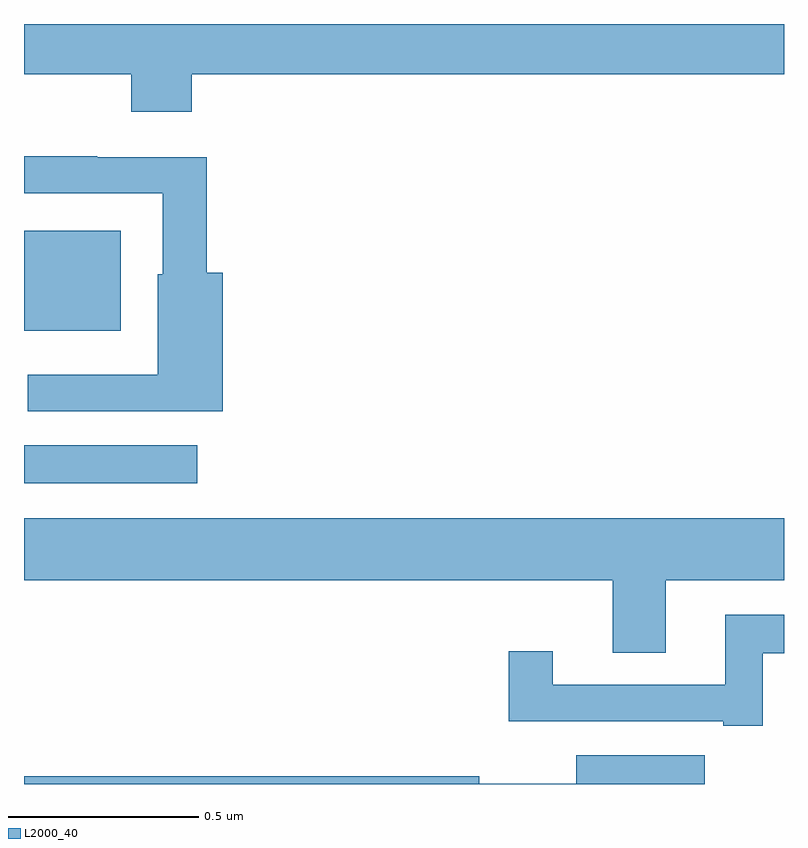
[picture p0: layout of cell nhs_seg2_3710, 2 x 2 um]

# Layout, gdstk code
import gdstk
lib = gdstk.Library(unit=1e-6, precision=1e-09)
def R(c, l, rs):  # rectangles x0, y0, x1, y1
    for r in rs: c.add(gdstk.rectangle(r[:2], r[2:], *l))
def P(c, l, *ps):  # polygons
    for p in ps: c.add(gdstk.Polygon(p, *l))
L2000_40 = (2000, 40)

nhs_seg2_3710 = lib.new_cell('nhs_seg2_3710')
R(nhs_seg2_3710, L2000_40, [(157,614.591,157.456,614.692), (157,614.993,157.255,615.256)])
P(nhs_seg2_3710, L2000_40, [(157.442,615.668),(159,615.668),(159,615.8),(157,615.8),(157,615.668),(157.282,615.668),(157.282,615.569),(157.442,615.569)],
  [(157.523,615.145),(157.481,615.145),(157.481,615.45),(157.193,615.45),(157.193,615.452),(157,615.452),(157,615.354),(157.365,615.354),(157.365,615.141),(157.352,615.141),(157.352,614.877),(157.01,614.877),(157.01,614.781),(157.523,614.781)],
  [(158.689,614.336),(159,614.336),(159,614.5),(157,614.5),(157,614.336),(158.549,614.336),(158.549,614.146),(158.689,614.146)],
  [(158.944,614.144),(159,614.144),(159,614.245),(158.846,614.245),(158.846,614.061),(158.392,614.061),(158.392,614.149),(158.275,614.149),(158.275,613.965),(158.84,613.965),(158.84,613.953),(158.944,613.953)],
  [(158.791,613.876),(158.453,613.876),(158.453,613.801),(158.198,613.801),(158.198,613.82),(157,613.82),(157,613.8),(158.791,613.8)])

lib.write_gds('nhs_seg2_3710.gds')
